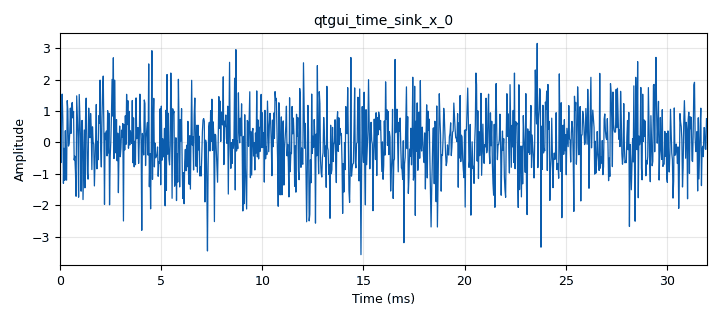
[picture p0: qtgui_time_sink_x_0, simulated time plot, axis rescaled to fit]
options:
  parameters:
    generate_options: qt_gui
    id: Act3_Lab1
    output_language: python
    title: Not titled yet
  states: {}

blocks:
- name: samp_rate
  id: variable
  parameters:
    value: 32e3
  states: {}
- name: analog_noise_source_x_0
  id: analog_noise_source_x
  parameters:
    amp: '1'
    noise_type: analog.GR_GAUSSIAN
    seed: '0'
    type: float
  states: {}
- name: analog_sig_source_x_0
  id: analog_sig_source_x
  parameters:
    amp: '1'
    freq: '1000'
    offset: '0'
    phase: '0'
    samp_rate: samp_rate
    type: float
    waveform: analog.GR_SIN_WAVE
  states: {state: disabled}
- name: blocks_vector_source_x_0
  id: blocks_vector_source_x
  parameters:
    repeat: 'True'
    type: float
    vector: (1, 2, -1)
  states: {state: disabled}
- name: epy_block_0
  id: epy_block
  parameters:
    _source_code: "\"\"\"\nEmbedded Python Blocks:\n\nEach time this file is saved, GRC will instantiate the first class it finds\nto get ports and parameters of your block. The arguments to __init__  will\nbe the parameters. All of them are required to have default values!\n\"\"\"\n\nimport numpy as np\nfrom gnuradio import gr\n\nclass blk (gr.sync_block ):\n\n\tdef __init__ ( self ) : # only default arguments here\n\t\tgr.sync_block . __init__ (\n\t\t\tself ,\n\t\t\tname = 'Promedios_de_tiempos', # will show up in GRC\n\t\t\tin_sig =[ np.float32 ],\n\t\t\tout_sig =[ np.float32 ,np.float32 ,np.float32 ,np.float32 ,np.float32 ]\n\t\t)\n\t\tself.acum_anterior = 0\n\t\tself.Ntotales = 0\n\t\tself.acum_anterior1 = 0\n\t\tself.acum_anterior2 = 0\n\n\tdef work (self, input_items , output_items ):\n\t\tx = input_items [0] # Senial de entrada .\n\t\ty0 = output_items [0] # Promedio de la senial\n\t\ty1 = output_items [1] # Media cuadratica de la senial\n\t\ty2 = output_items [2] # RMS de la senial\n\t\ty3 = output_items [3] # Potencia promedio de la senial\n\t\ty4 = output_items [4] # Desviacion estandar de la senial\n\t\n\t\t# Calculo del promedio\n\t\tN = len(x)\n\t\tself.Ntotales = self.Ntotales + N\n\t\tacumulado = self.acum_anterior + np.cumsum(x)\n\t\tself.acum_anterior = acumulado[N -1]\n\t\ty0[:]= acumulado/self.Ntotales\n\t\n\t\t# Calculo de la media cuadratica\n\t\tx2=np.multiply(x,x)\n\t\tacumulado1 = self.acum_anterior1 + np.cumsum(x2)\n\t\tself.acum_anterior1 = acumulado1[N -1]\n\t\ty1[:] = acumulado1/self.Ntotales\n\n\t\t# Calculo de la RMS\n\t\ty2[:] = np.sqrt(y1)\n\t\n\t\t# Calculo de la potencia promedio\n\t\ty3[:] = np.multiply(y2 ,y2)\n\n\t\t# Calculo de la desviacion estandar\n\t\tx3 = np.multiply(x-y0 ,x-y0)\n\t\tacumulado2 = self.acum_anterior2 + np.cumsum(x3)\n\t\tself.acum_anterior2 = acumulado2[N -1]\n\t\ty4[:] = np.sqrt(acumulado2/self.Ntotales)\n\t\n\t\treturn len (x)\n\t\t\n\t\t\n\t\t\n\t\t\n\t\n\t\n\t\n"
  states: {}
- name: qtgui_number_sink_0
  id: qtgui_number_sink
  parameters:
    graph_type: qtgui.NUM_GRAPH_HORIZ
    name: '"Media Cuadratica"'
    type: float
  states: {}
- name: qtgui_number_sink_0_0
  id: qtgui_number_sink
  parameters:
    graph_type: qtgui.NUM_GRAPH_HORIZ
    name: '"RMS"'
    type: float
  states: {}
- name: qtgui_number_sink_0_1
  id: qtgui_number_sink
  parameters:
    graph_type: qtgui.NUM_GRAPH_HORIZ
    name: '"Potencia Promedio"'
    type: float
  states: {}
- name: qtgui_number_sink_0_2
  id: qtgui_number_sink
  parameters:
    graph_type: qtgui.NUM_GRAPH_HORIZ
    name: '"Media"'
    type: float
  states: {}
- name: qtgui_number_sink_0_3
  id: qtgui_number_sink
  parameters:
    graph_type: qtgui.NUM_GRAPH_HORIZ
    name: '"Desviacion Estadar"'
    type: float
  states: {}
- name: qtgui_time_sink_x_0
  id: qtgui_time_sink_x
  parameters:
    size: '1024'
    srate: samp_rate
    type: float
  states: {}
- name: uhd_usrp_sink_0
  id: uhd_usrp_sink
  parameters:
    ant0: '"TX/RX"'
    center_freq0: '0'
    gain0: '0'
    samp_rate: samp_rate
    sync: sync
    type: fc32
  states: {state: disabled}

connections:
- [analog_noise_source_x_0, '0', epy_block_0, '0']
- [analog_noise_source_x_0, '0', qtgui_time_sink_x_0, '0']
- [analog_sig_source_x_0, '0', epy_block_0, '0']
- [analog_sig_source_x_0, '0', qtgui_time_sink_x_0, '0']
- [blocks_vector_source_x_0, '0', epy_block_0, '0']
- [blocks_vector_source_x_0, '0', qtgui_time_sink_x_0, '0']
- [epy_block_0, '0', qtgui_number_sink_0_2, '0']
- [epy_block_0, '1', qtgui_number_sink_0, '0']
- [epy_block_0, '2', qtgui_number_sink_0_0, '0']
- [epy_block_0, '3', qtgui_number_sink_0_1, '0']
- [epy_block_0, '4', qtgui_number_sink_0_3, '0']

metadata:
  file_format: 1
  grc_version: 3.10.5.1
